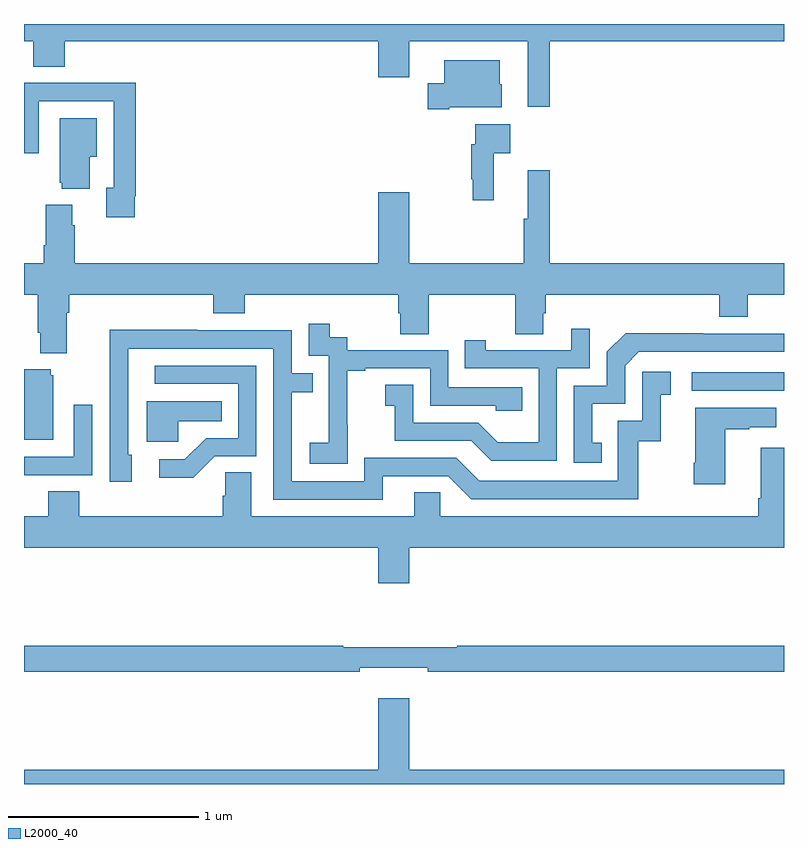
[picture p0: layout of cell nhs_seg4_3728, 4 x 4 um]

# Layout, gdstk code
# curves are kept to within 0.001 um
import gdstk
lib = gdstk.Library(unit=1e-6, precision=1e-09)
def R(c, l, rs):  # rectangles x0, y0, x1, y1
    for r in rs: c.add(gdstk.rectangle(r[:2], r[2:], *l))
def P(c, l, *ps):  # polygons
    for p in ps: c.add(gdstk.Polygon(p, *l))
L2000_40 = (2000, 40)

nhs_seg4_3728 = lib.new_cell('nhs_seg4_3728')
R(nhs_seg4_3728, L2000_40, [(310.515,806.97,311,807.066)])
P(nhs_seg4_3728, L2000_40, [(309.767,808.808),(311,808.808),(311,808.9),(307,808.9),(307,808.808),(307.049,808.808),(307.049,808.675),(307.214,808.675),(307.214,808.808),(308.864,808.808),(308.864,808.62),(309.028,808.62),(309.028,808.808),(309.65,808.808),(309.65,808.464),(309.767,808.464)],
  [(309.238,808.463),(309.514,808.463),(309.514,808.584),(309.505,808.584),(309.505,808.708),(309.212,808.708),(309.212,808.588),(309.126,808.588),(309.126,808.451),(309.238,808.451)],
  [(307.582,807.994),(307.589,807.994),(307.589,808.592),(307.297,808.592),(307.297,808.59),(307,808.59),(307,808.221),(307.077,808.221),(307.077,808.494),(307.473,808.494),(307.473,808.038),(307.433,808.038),(307.433,807.882),(307.582,807.882)],
  [(307.345,808.202),(307.384,808.202),(307.384,808.405),(307.187,808.405),(307.187,808.065),(307.199,808.065),(307.199,808.034),(307.345,808.034)],
  [(309.473,808.22),(309.559,808.22),(309.559,808.372),(309.375,808.372),(309.375,808.268),(309.355,808.268),(309.355,808.084),(309.363,808.084),(309.363,807.972),(309.473,807.972)],
  [(307.225,807.38),(307.238,807.38),(307.238,807.476),(307.997,807.476),(307.997,807.377),(308.162,807.377),(308.162,807.476),(308.969,807.476),(308.969,807.378),(308.981,807.378),(308.981,807.268),(309.129,807.268),(309.129,807.476),(309.586,807.476),(309.586,807.268),(309.733,807.268),(309.733,807.378),(309.746,807.378),(309.746,807.476),(310.658,807.476),(310.658,807.359),(310.81,807.359),(310.81,807.476),(311,807.476),(311,807.64),(309.767,807.64),(309.767,808.129),(309.65,808.129),(309.65,807.876),(309.631,807.876),(309.631,807.64),(309.028,807.64),(309.028,808.015),(308.864,808.015),(308.864,807.64),(307.268,807.64),(307.268,807.842),(307.255,807.842),(307.255,807.949),(307.115,807.949),(307.115,807.736),(307.103,807.736),(307.103,807.64),(307,807.64),(307,807.476),(307.073,807.476),(307.073,807.274),(307.085,807.274),(307.085,807.167),(307.225,807.167)],
  [(308.703,806.791),(308.702,806.791),(308.702,807.075),(308.797,807.075),(308.797,807.087),(309.138,807.087),(309.138,806.892),(309.483,806.892),(309.483,806.865),(309.623,806.865),(309.623,806.988),(309.234,806.988),(309.234,807.183),(308.7,807.183),(308.7,807.252),(308.608,807.252),(308.608,807.322),(308.499,807.322),(308.499,807.153),(308.604,807.153),(308.604,806.924),(308.603,806.924),(308.603,806.695),(308.505,806.695),(308.505,806.585),(308.703,806.585)],
  [(309.804,807.087),(309.978,807.087),(309.978,807.295),(309.881,807.295),(309.881,807.183),(309.43,807.183),(309.43,807.235),(309.319,807.235),(309.319,807.087),(309.708,807.087),(309.708,806.698),(309.494,806.698),(309.39,806.802),(309.048,806.802),(309.048,807.001),(308.901,807.001),(308.901,806.891),(308.95,806.891),(308.95,806.706),(309.353,806.706),(309.458,806.601),(309.804,806.601)],
  [(308.887,806.52),(309.234,806.52),(309.354,806.4),(310.234,806.4),(310.234,806.703),(310.352,806.703),(310.352,806.949),(310.405,806.949),(310.405,807.07),(310.254,807.07),(310.254,806.811),(310.125,806.811),(310.125,806.496),(309.396,806.496),(309.276,806.616),(308.79,806.616),(308.79,806.493),(308.409,806.493),(308.409,806.962),(308.519,806.962),(308.519,807.063),(308.409,807.063),(308.409,807.288),(307.913,807.288),(307.913,807.29),(307.45,807.29),(307.45,806.983),(307.452,806.983),(307.452,806.49),(307.567,806.49),(307.567,806.634),(307.548,806.634),(307.549,807.192),(308.313,807.192),(308.313,806.397),(308.887,806.397)],
  [(310.04,806.697),(309.991,806.697),(309.991,806.901),(310.164,806.901),(310.164,807.102),(310.236,807.174),(311,807.174),(311,807.27),(310.574,807.27),(310.574,807.272),(310.166,807.272),(310.068,807.174),(310.068,806.997),(309.894,806.997),(309.894,806.592),(310.04,806.592)],
  [(308.004,806.625),(308.223,806.625),(308.223,807.102),(307.689,807.102),(307.689,807.006),(308.127,807.006),(308.127,806.721),(307.958,806.721),(307.847,806.61),(307.713,806.61),(307.713,806.513),(307.891,806.513)],
  [(307.153,807.051),(307.142,807.051),(307.142,807.082),(307,807.082),(307,806.711),(307.153,806.711)],
  [(307.812,806.81),(308.042,806.81),(308.042,806.914),(307.646,806.914),(307.646,806.702),(307.812,806.702)],
  [(307.043,806.526),(307.359,806.526),(307.359,806.896),(307.263,806.896),(307.263,806.622),(307,806.622),(307,806.525),(307.043,806.525)],
  [(310.69,806.767),(310.817,806.767),(310.817,806.777),(310.96,806.777),(310.96,806.881),(310.532,806.881),(310.532,806.59),(310.525,806.59),(310.525,806.478),(310.69,806.478)],
  [(309.028,806.144),(311,806.144),(311,806.671),(310.877,806.671),(310.877,806.404),(310.865,806.404),(310.865,806.308),(309.192,806.308),(309.192,806.435),(309.053,806.435),(309.053,806.308),(308.197,806.308),(308.197,806.54),(308.058,806.54),(308.058,806.417),(308.045,806.417),(308.045,806.308),(307.292,806.308),(307.292,806.441),(307.127,806.441),(307.127,806.308),(307,806.308),(307,806.144),(308.864,806.144),(308.864,805.956),(309.028,805.956)],
  [(308.768,805.511),(309.124,805.511),(309.124,805.492),(311,805.492),(311,805.628),(309.281,805.628),(309.281,805.621),(308.681,805.621),(308.681,805.628),(307,805.628),(307,805.492),(308.768,805.492)],
  [(311,804.976),(309.028,804.976),(309.028,805.351),(308.864,805.351),(308.864,804.976),(307,804.976),(307,804.9),(311,804.9)])

lib.write_gds('nhs_seg4_3728.gds')
